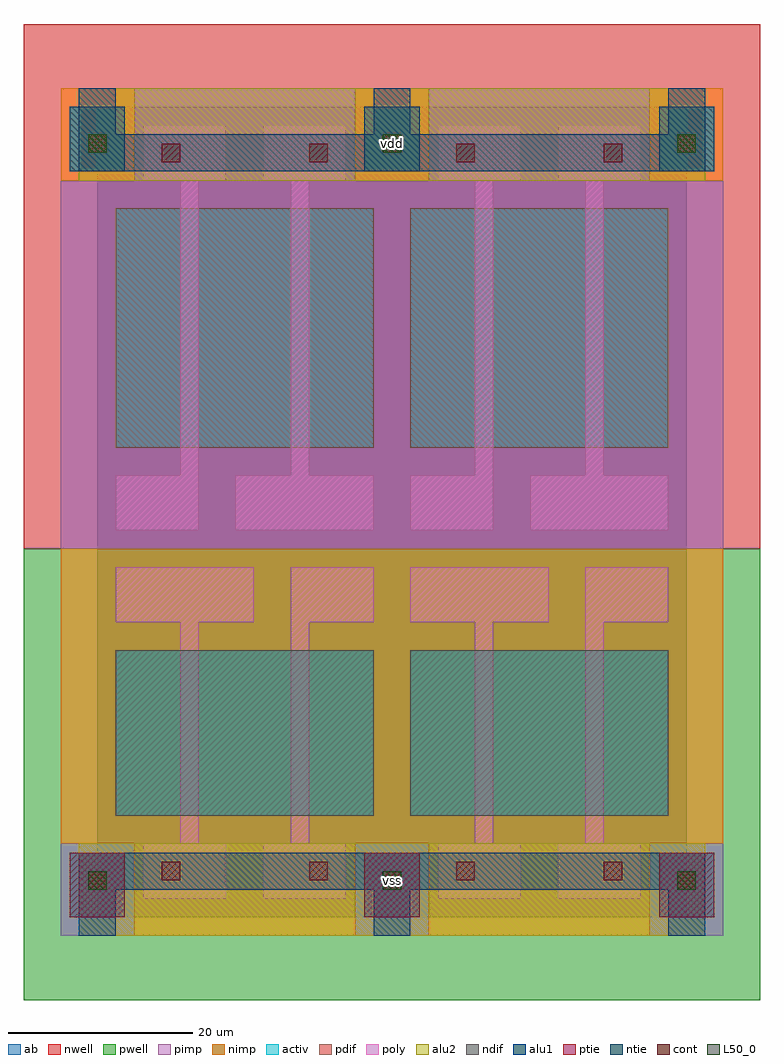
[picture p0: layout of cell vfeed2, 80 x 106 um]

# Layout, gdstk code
import gdstk
lib = gdstk.Library(unit=1e-6, precision=1e-09)
def R(c, l, rs):  # rectangles x0, y0, x1, y1
    for r in rs: c.add(gdstk.rectangle(r[:2], r[2:], *l))
def A(c, l, x, y, w, h, nx, ny, dx, dy):  # array of equal rectangles
    R(c, l, [(x+i*dx, y+j*dy, x+i*dx+w, y+j*dy+h) for i in range(nx) for j in range(ny)])
ndif = (3, 0)
pdif = (4, 0)
ntie = (5, 0)
ptie = (6, 0)
cont = (25, 0)
pwell = (41, 0)
nwell = (42, 0)
activ = (43, 0)
pimp = (44, 0)
nimp = (45, 0)
poly = (46, 0)
alu1 = (49, 0)
L50_0 = (50, 0)
alu2 = (51, 0)
ab = (63, 0)

vfeed2 = lib.new_cell('vfeed2')
R(vfeed2, ndif, [(2,11,30,29), (34,11,62,29)])
R(vfeed2, pdif, [(2,51,30,77), (34,51,62,77)])
A(vfeed2, ntie, -3, 81, 6, 7, 3, 1, 32, 0)
A(vfeed2, ptie, -3, 0, 6, 7, 3, 1, 32, 0)
A(vfeed2, cont, -1, 3, 2, 2, 3, 2, 32, 80)
A(vfeed2, cont, 7, 4, 2, 2, 4, 2, 16, 78)
R(vfeed2, pwell, [(-8,-9,72,40)])
R(vfeed2, nwell, [(-8,40,72,97)])
A(vfeed2, activ, -3, 0, 6, 7, 3, 2, 32, 81)
R(vfeed2, activ, [(2,11,30,29), (34,11,62,29), (2,51,30,77), (34,51,62,77)])
A(vfeed2, pimp, -4, -2, 8, 10, 3, 1, 32, 0)
R(vfeed2, pimp, [(-4,40,68,80), (4,80,28,90), (36,80,60,90)])
A(vfeed2, nimp, -4, 80, 8, 10, 3, 1, 32, 0)
R(vfeed2, nimp, [(4,-2,28,8), (36,-2,60,8), (-4,8,68,40)])
R(vfeed2, poly, [(5,2,14,8), (18,2,27,8), (37,2,46,8), (50,2,59,8), (9,8,11,32), (21,8,23,32), (41,8,43,32), (53,8,55,32), (2,32,17,38), (21,32,30,38), (34,32,49,38), (53,32,62,38), (2,42,11,48), (15,42,30,48), (34,42,43,48), (47,42,62,48), (9,48,11,80), (21,48,23,80), (41,48,43,80), (53,48,55,80), (5,80,14,86), (18,80,27,86), (37,80,46,86), (50,80,59,86)])
A(vfeed2, alu1, -2, -2, 4, 5, 3, 2, 32, 87)
R(vfeed2, alu1, [(-2,3,66,7), (-2,81,66,85)])
A(vfeed2, L50_0, -1, 3, 2, 2, 3, 2, 32, 80)
R(vfeed2, alu2, [(-2,-2,66,8), (-2,80,66,90)])
R(vfeed2, ab, [(0,0,64,88)])
vfeed2.add(gdstk.Label('vss', (32,4), layer=51, texttype=0))
vfeed2.add(gdstk.Label('vdd', (32,84), layer=51, texttype=0))

lib.write_gds('vfeed2.gds')
